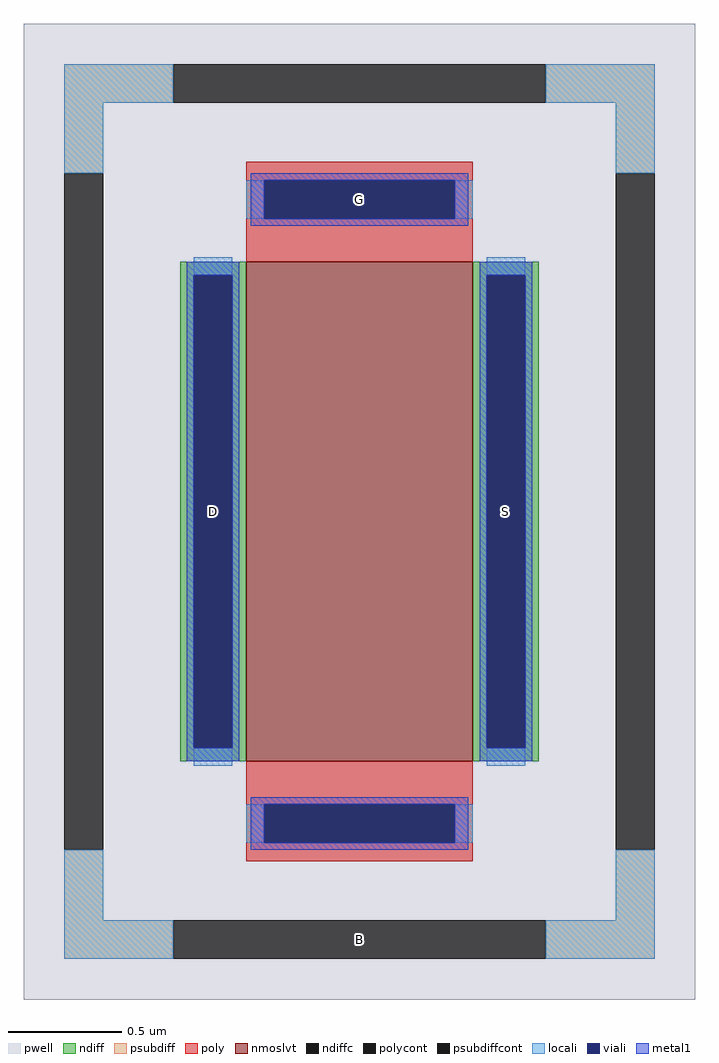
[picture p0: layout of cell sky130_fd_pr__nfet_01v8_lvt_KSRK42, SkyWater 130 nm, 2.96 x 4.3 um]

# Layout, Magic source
magic
tech sky130A
magscale 1 2
<< pwell >>
rect -296 -430 296 430
<< nmoslvt >>
rect -100 -220 100 220
<< ndiff >>
rect -158 208 -100 220
rect -158 -208 -146 208
rect -112 -208 -100 208
rect -158 -220 -100 -208
rect 100 208 158 220
rect 100 -208 112 208
rect 146 -208 158 208
rect 100 -220 158 -208
<< ndiffc >>
rect -146 -208 -112 208
rect 112 -208 146 208
<< psubdiff >>
rect -260 360 -164 394
rect 164 360 260 394
rect -260 298 -226 360
rect 226 298 260 360
rect -260 -360 -226 -298
rect 226 -360 260 -298
rect -260 -394 -164 -360
rect 164 -394 260 -360
<< psubdiffcont >>
rect -164 360 164 394
rect -260 -298 -226 298
rect 226 -298 260 298
rect -164 -394 164 -360
<< poly >>
rect -100 292 100 308
rect -100 258 -84 292
rect 84 258 100 292
rect -100 220 100 258
rect -100 -258 100 -220
rect -100 -292 -84 -258
rect 84 -292 100 -258
rect -100 -308 100 -292
<< polycont >>
rect -84 258 84 292
rect -84 -292 84 -258
<< locali >>
rect -260 360 -164 394
rect 164 360 260 394
rect -260 298 -226 360
rect 226 298 260 360
rect -100 258 -84 292
rect 84 258 100 292
rect -146 208 -112 224
rect -146 -224 -112 -208
rect 112 208 146 224
rect 112 -224 146 -208
rect -100 -292 -84 -258
rect 84 -292 100 -258
rect -260 -360 -226 -298
rect 226 -360 260 -298
rect -260 -394 -164 -360
rect 164 -394 260 -360
<< viali >>
rect -84 258 84 292
rect -146 -208 -112 208
rect 112 -208 146 208
rect -84 -292 84 -258
<< metal1 >>
rect -96 292 96 298
rect -96 258 -84 292
rect 84 258 96 292
rect -96 252 96 258
rect -152 208 -106 220
rect -152 -208 -146 208
rect -112 -208 -106 208
rect -152 -220 -106 -208
rect 106 208 152 220
rect 106 -208 112 208
rect 146 -208 152 208
rect 106 -220 152 -208
rect -96 -258 96 -252
rect -96 -292 -84 -258
rect 84 -292 96 -258
rect -96 -298 96 -292
<< labels >>
rlabel psubdiffcont 0 -377 0 -377 0 B
port 1 nsew
rlabel ndiffc -129 0 -129 0 0 D
port 2 nsew
rlabel ndiffc 129 0 129 0 0 S
port 3 nsew
rlabel polycont 0 275 0 275 0 G
port 4 nsew
<< properties >>
string FIXED_BBOX -243 -377 243 377
string gencell sky130_fd_pr__nfet_01v8_lvt
string library sky130
string parameters w 2.2 l 1.0 m 1 nf 1 diffcov 100 polycov 100 guard 1 glc 1 grc 1 gtc 1 gbc 1 tbcov 100 rlcov 100 topc 1 botc 1 poverlap 0 doverlap 1 lmin 0.15 wmin 0.42 class mosfet compatible {sky130_fd_pr__nfet_01v8 sky130_fd_pr__nfet_01v8_lvt  sky130_fd_bs_flash__special_sonosfet_star  sky130_fd_pr__nfet_g5v0d10v5 sky130_fd_pr__nfet_05v0_nvt  sky130_fd_pr__nfet_03v3_nvt} full_metal 1 conn_gates 0 viasrc 100 viadrn 100 viagate 100 viagb 0 viagr 0 viagl 0 viagt 0 doports 1
<< end >>
